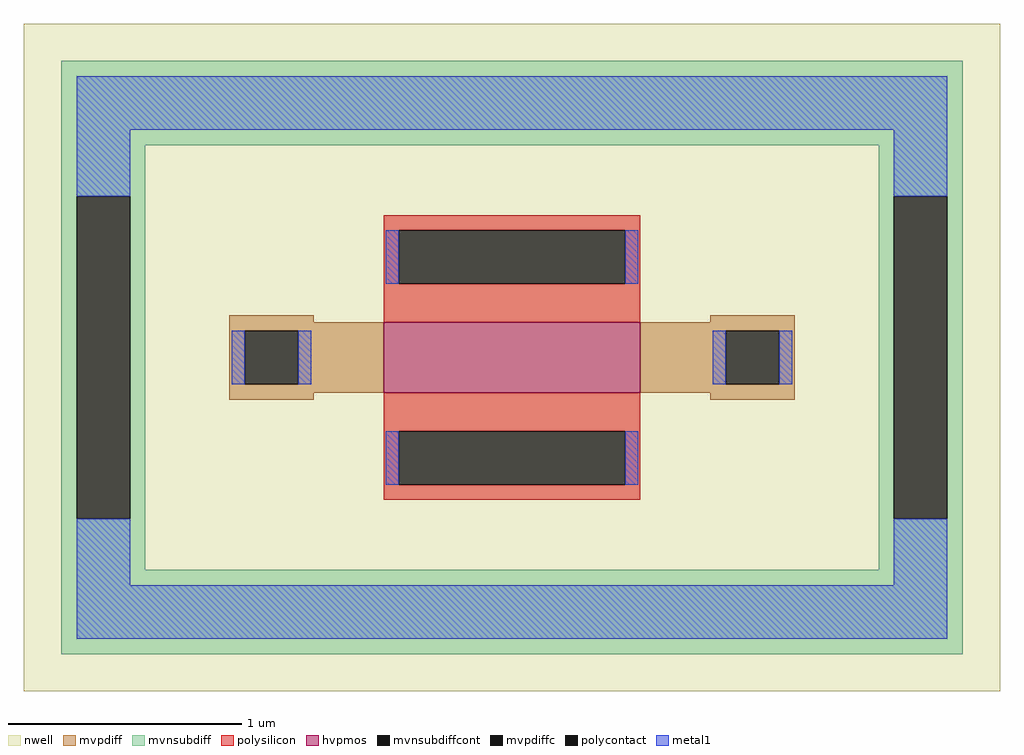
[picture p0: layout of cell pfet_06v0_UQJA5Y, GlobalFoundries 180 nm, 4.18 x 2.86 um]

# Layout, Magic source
magic
tech gf180mcuC
magscale 1 10
<< nwell >>
rect -418 -286 418 286
<< hvpmos >>
rect -110 -30 110 30
<< mvpdiff >>
rect -242 30 -170 36
rect 170 30 242 36
rect -242 23 -110 30
rect -242 -23 -229 23
rect -183 -23 -110 23
rect -242 -30 -110 -23
rect 110 23 242 30
rect 110 -23 183 23
rect 229 -23 242 23
rect 110 -30 242 -23
rect -242 -36 -170 -30
rect 170 -36 242 -30
<< mvpdiffc >>
rect -229 -23 -183 23
rect 183 -23 229 23
<< mvnsubdiff >>
rect -386 182 386 254
rect -386 138 -314 182
rect -386 -138 -373 138
rect -327 -138 -314 138
rect 314 138 386 182
rect -386 -182 -314 -138
rect 314 -138 327 138
rect 373 -138 386 138
rect 314 -182 386 -138
rect -386 -254 386 -182
<< mvnsubdiffcont >>
rect -373 -138 -327 138
rect 327 -138 373 138
<< polysilicon >>
rect -110 109 110 122
rect -110 63 -97 109
rect 97 63 110 109
rect -110 30 110 63
rect -110 -63 110 -30
rect -110 -109 -97 -63
rect 97 -109 110 -63
rect -110 -122 110 -109
<< polycontact >>
rect -97 63 97 109
rect -97 -109 97 -63
<< metal1 >>
rect -373 195 373 241
rect -373 138 -327 195
rect 327 138 373 195
rect -108 63 -97 109
rect 97 63 108 109
rect -240 -23 -229 23
rect -183 -23 -172 23
rect 172 -23 183 23
rect 229 -23 240 23
rect -108 -109 -97 -63
rect 97 -109 108 -63
rect -373 -195 -327 -138
rect 327 -195 373 -138
rect -373 -241 373 -195
<< properties >>
string FIXED_BBOX -350 -218 350 218
string gencell pfet_06v0
string library gf180mcu
string parameters w 0.3 l 1.1 m 1 nf 1 diffcov 100 polycov 100 guard 1 glc 1 grc 1 gtc 0 gbc 0 tbcov 100 rlcov 100 topc 1 botc 1 poverlap 0 doverlap 1 lmin 0.55 wmin 0.3 class mosfet full_metal 1 compatible {pfet_03v3 pfet_05v0 pfet_06v0} ad {int((nf+1)/2) * W/nf * 0.18u} as {int((nf+2)/2) * W/nf * 0.18u} pd {2*int((nf+1)/2) * (W/nf + 0.18u)} ps {2*int((nf+2)/2) * (W/nf + 0.18u)} nrd {0.18u / W} nrs {0.18u / W} sa 0 sb 0 sd 0
<< end >>
